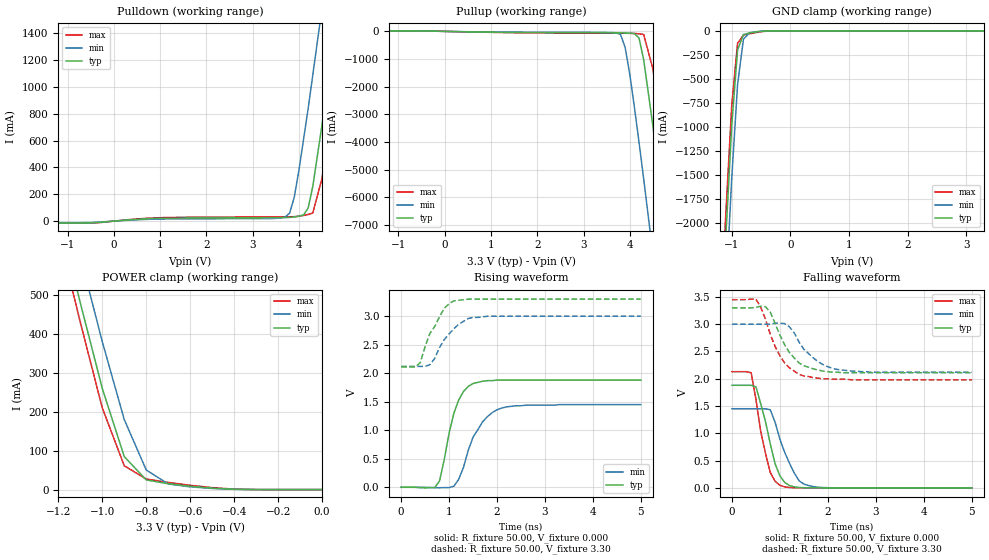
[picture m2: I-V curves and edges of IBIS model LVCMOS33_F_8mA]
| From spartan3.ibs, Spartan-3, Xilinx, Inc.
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|   Model LVCMOS33_F_8mA
[Model]   LVCMOS33_F_8mA
Model_type   I/O
Polarity   Non-Inverting
Enable   Active-Low
Vinl =   0.80V
Vinh =   2.00V
Vmeas =   1.65V
Cref =  0.000F
Rref =  10.00G
Vref =  0.000V
C_comp   6.38pF   4.60pF   8.23pF
[Temperature Range]   25.00   85.00   0.000
[Voltage Range]   3.30V   3.00V   3.45V
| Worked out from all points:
|   slope of the pulldown table from 0 to 0.495 V, typ, clamps not added: 37.3 ohm
|   slope of the pullup table from 0 to 0.495 V, typ, clamps not added: 30.4 ohm
|   GND clamp passes 1 mA (typ) near -0.38 V on its own axis
|   POWER clamp passes 1 mA (typ) near -0.41 V on its own axis
|   rising waveform, R_fixture 50.00, V_fixture 0.000: 20-80 % time 319ps typ, 440ps min, NA max; typ from 0 V to 1.88 V
|   rising waveform, R_fixture 50.00, V_fixture 3.30: 20-80 % time 392ps typ, 436ps min, NA max; typ from 2.11 V to 3.3 V
|   falling waveform, R_fixture 50.00, V_fixture 0.000: 20-80 % time 318ps typ, 376ps min, 275ps max; typ from 1.88 V to 0 V
|   falling waveform, R_fixture 50.00, V_fixture 3.30: 20-80 % time 460ps typ, 519ps min, 448ps max; typ from 3.3 V to 2.11 V
[Pulldown]
| voltage   I(typ)   I(min)   I(max)
-3.3V     -13.9mA    -11.09mA   -14.86mA
3.7V      26.03mA    30.2mA     31.96mA
3.8V      27.59mA    60.23mA    32.25mA
3.9V      31.54mA    180mA      33.15mA
4.1V      46.09mA    610mA      42.17mA
4.2V      97.94mA    840mA      49.47mA
4.3V      260mA      1.09A      60.97mA
4.5V      720mA      1.59A      320mA
4.7V      1.21A      2.1A       790mA
4.9V      1.72A      2.62A      1.29A
5.1V      2.24A      3.13A      1.8A
6.6V      6.17A      7.07A      5.73A
[Pullup]
| voltage   I(typ)   I(min)   I(max)
-3.3V     19.52mA    15.43mA    21.13mA
3.8V      -54.33mA   -110mA     -67.01mA
3.9V      -57.8mA    -580mA     -67.71mA
4V        -64.84mA   -1.55A     -70.08mA
4.1V      -78.89mA   -2.74A     -76.4mA
4.2V      -240mA     -4.01A     -86.23mA
4.3V      -1.02A     -5.33A     -110mA
4.5V      -3.42A     -8.05A     -1.36A
4.7V      -6.1A      -10.81A    -3.85A
4.9V      -8.85A     -13.6A     -6.55A
5.1V      -11.65A    -16.41A    -9.33A
6.6V      -32.99A    -37.76A    -30.65A
[GND_clamp]
| voltage   I(typ)   I(min)   I(max)
-3.3V     -32.99A    -33.47A    -32.8A
-1.2V     -3.41A     -4.01A     -3.17A
-1.1V     -2.14A     -2.73A     -1.9A
-1V       -990mA     -1.54A     -780mA
-900mV    -200mA     -560mA     -130mA
-800mV    -38.78mA   -87.51mA   -44.95mA
-700mV    -22.95mA   -20.62mA   -30.91mA
-400mV    -1.26mA    -980uA     -2.82mA
3.3V      34.79nA    95.33uA    49nA
[POWER_clamp]
| voltage   I(typ)   I(min)   I(max)
-3.3V     6.17A      6.28A      6.12A
-1.2V     710mA      840mA      660mA
-1.1V     480mA      600mA      430mA
-1V       260mA      380mA      210mA
-900mV    84.79mA    180mA      61.18mA
-800mV    24.88mA    50.29mA    27.26mA
-700mV    15.03mA    14.55mA    18.43mA
-600mV    8.66mA     7.1mA      11.09mA
-400mV    790uA      730uA      1.23mA
0V        34.79nA    120nA      59.54nA
[Ramp]
| variable   typ   min   max
dV/dt_r   1.13/0.31n   0.87/0.43n   NA
dV/dt_f   0.72/0.46n   0.53/0.52n   0.88/0.44n
R_load = 50.00
[Rising Waveform]
R_fixture = 50.00
V_fixture = 0.000
| time   V(typ)   V(min)   V(max)
0s        770nV      2.8uV      NA
700ps     -4.62mV    -7.7mV     NA
800ps     110mV      -8.46mV    NA
1ns       950mV      -5.45mV    NA
1.1ns     1.3V       18.23mV    NA
1.3ns     1.68V      350mV      NA
1.5ns     1.82V      880mV      NA
1.8ns     1.87V      1.24V      NA
2.2ns     1.88V      1.41V      NA
5ns       1.88V      1.45V      NA
[Rising Waveform]
R_fixture = 50.00
V_fixture = 3.30
V_fixture_min = 3.00
V_fixture_max = 3.45
| time   V(typ)   V(min)   V(max)
0s        2.11V      2.12V      NA
300ps     2.11V      2.12V      NA
400ps     2.19V      2.12V      NA
600ps     2.7V       2.15V      NA
700ps     2.82V      2.26V      NA
900ps     3.14V      2.59V      NA
1.1ns     3.27V      2.78V      NA
1.4ns     3.3V       2.96V      NA
1.8ns     3.3V       3V         NA
5ns       3.3V       3V         NA
[Falling Waveform]
R_fixture = 50.00
V_fixture = 0.000
| time   V(typ)   V(min)   V(max)
0s        1.88V      1.45V      2.13V
400ps     1.88V      1.45V      2.11V
500ps     1.85V      1.45V      1.62V
600ps     1.54V      1.45V      1.03V
800ps     800mV      1.43V      280mV
900ps     440mV      1.2V       120mV
1ns       220mV      890mV      46.09mV
1.3ns     18.41mV    270mV      2.5mV
1.6ns     1.48mV     42.27mV    130uV
5ns       0V         1.77uV     1.49uV
[Falling Waveform]
R_fixture = 50.00
V_fixture = 3.30
V_fixture_min = 3.00
V_fixture_max = 3.45
| time   V(typ)   V(min)   V(max)
0s        3.3V       3V         3.45V
500ps     3.31V      3V         3.46V
700ps     3.32V      3V         3.09V
800ps     3.22V      3V         2.81V
1ns       2.8V       3.02V      2.42V
1.2ns     2.48V      2.95V      2.2V
1.5ns     2.24V      2.54V      2.05V
1.8ns     2.16V      2.31V      2.01V
2.2ns     2.12V      2.17V      1.99V
5ns       2.11V      2.12V      1.98V
